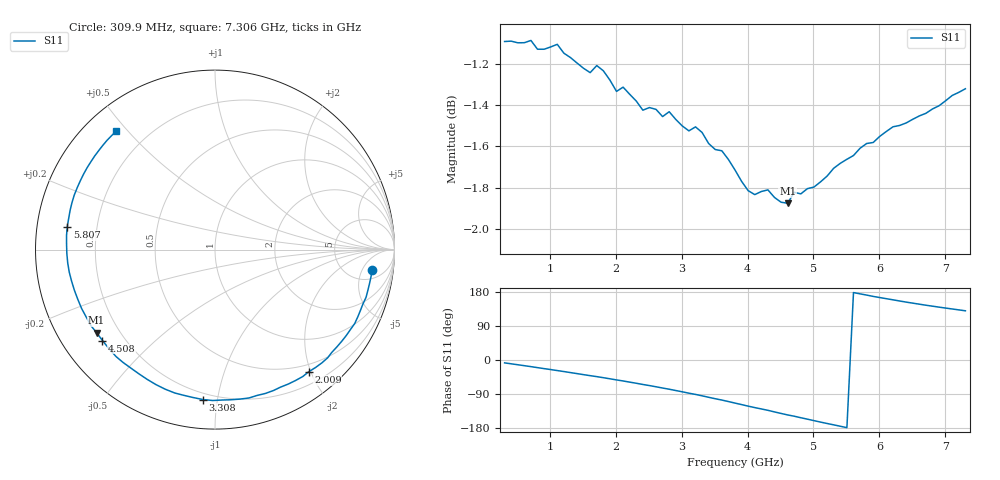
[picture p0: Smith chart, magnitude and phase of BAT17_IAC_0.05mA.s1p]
! Infineon Technologies  Discrete & RF Semiconductors
! BAT17
! IAC = 0.05 mA
! One-Port S-Parameters
# Hz  S  MA  R  50
!f  S11
!Hz  Mag  Ang
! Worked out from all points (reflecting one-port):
!   71 points, 309.9 MHz to 7.306 GHz, reference 50 ohm
!   lowest |S11| = -1.9 dB at 4.608 GHz (marker M1), VSWR 9.29, Z = 5.91 - j15.6 ohm
!   phase of S11 starts at -8 deg and turns -223 deg over the sweep
!   S11 on the Smith chart (normalised r, x): 309.9 MHz: 8, -8; 2.009 GHz: 0.38, -1.97; 3.308 GHz: 0.16, -0.91; 4.508 GHz: 0.12, -0.35; 5.807 GHz: 0.09, +0.08; 7.306 GHz: 0.09, +0.46
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3.0985e8  0.8821 -7.6
7.0965e8  0.8826 -17.5
1.10945e9  0.8807 -27.9
1.2094e9  0.8763 -30.5
1.70915e9  0.8703 -43.9
2.009e9  0.8578 -52.6
2.10895e9  0.8598 -55.3
2.6087e9  0.8492 -70.7
2.8086e9  0.8481 -77.1
3.0085e9  0.8413 -84.0
3.30835e9  0.8383 -94.5
3.6082e9  0.8297 -105.7
3.8081e9  0.8209 -113.7
4.008e9  0.8114 -121.8
4.30785e9  0.8118 -132.8
4.50775e9  0.8062 -141.0
4.6077e9  0.8057 -145.0
4.70765e9  0.8107 -148.4
4.90755e9  0.8123 -156.1
5.2074e9  0.8181 -167.6
5.4073e9  0.8239 -174.8
5.6072e9  0.8275 177.9
5.8071e9  0.8331 171.3
5.90705e9  0.8336 167.8
6.2069e9  0.8409 158.8
6.50675e9  0.8445 150.0
6.90655e9  0.8509 139.5
7.30635e9  0.859 129.8
